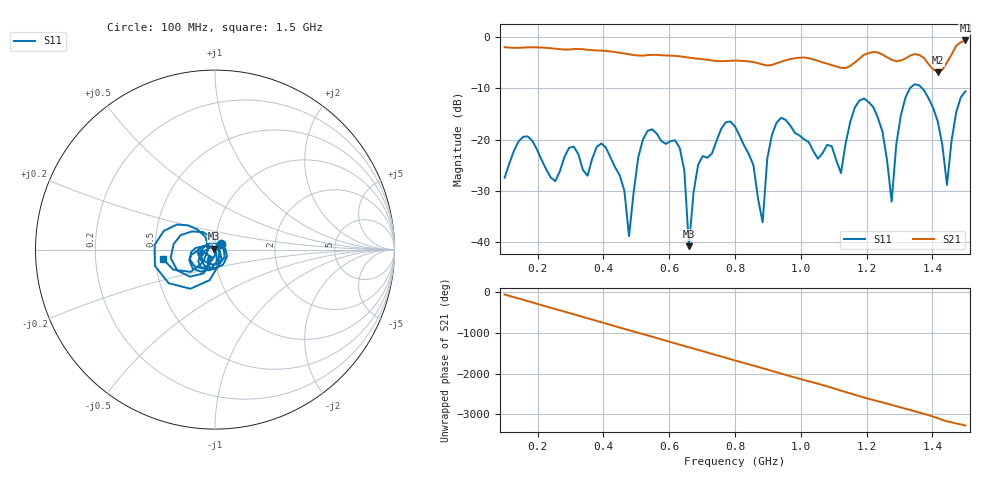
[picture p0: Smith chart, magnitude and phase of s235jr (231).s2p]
! NanoVNA-App
! Date: 2025-09-25 15:05:57
! Start: 100MHz Stop: 1,5GHz Points: 101
! S-Parameter data: F S11 S21 S12 S22
# Hz S RI R 50
!  Frequency  S11_Real  S11_Imag  S21_Real  S21_Imag  S12_Real  S12_Imag  S22_Real  S22_Imag
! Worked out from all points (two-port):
!   101 points, 100 MHz to 1.5 GHz, reference 50 ohm
!   highest |S21| = -0.65 dB at 1.5 GHz (marker M1); lowest = -6.9 dB at 1.416 GHz (marker M2)
!   |S21| within 3 dB of the highest: start of sweep to 613.7 MHz; 1.188 GHz to 1.255 GHz (66.23 MHz wide, 5.42 % of centre) (the widest 2 of 4)
!   lowest |S11| = -40.8 dB at 660 MHz (marker M3), VSWR 1.02, Z = 49.3 + j0.54 ohm
!   |S11| at or under -10 dB: start of sweep to 1.331 GHz; 1.369 GHz to end of sweep
!   S12 and S22 are empty: the file has one direction only
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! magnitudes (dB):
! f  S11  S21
! 100 MHz  -27.5  -2.0
! 170 MHz  -19.4  -2.0
! 338 MHz  -26.0  -2.4
! 408 MHz  -21.6  -2.7
! 478 MHz  -38.9  -3.4
! 520 MHz  -20.1  -3.6
! 576 MHz  -20.3  -3.5
! 632 MHz  -21.6  -3.7
! 660 MHz  -40.8  -4.0
! 688 MHz  -24.9  -4.2
! 800 MHz  -17.4  -4.6
! 884 MHz  -36.2  -5.3
! 926 MHz  -16.7  -5.1
! 1.038 GHz  -22.3  -4.4
! 1.122 GHz  -26.6  -6.0
! 1.192 GHz  -12.0  -3.5
! 1.248 GHz  -18.4  -3.4
! 1.276 GHz  -32.1  -4.4
! 1.332 GHz  -9.9  -3.6
! 1.416 GHz  -16.5  -6.9
! 1.444 GHz  -28.9  -4.9
! 1.5 GHz  -10.6  -0.7
